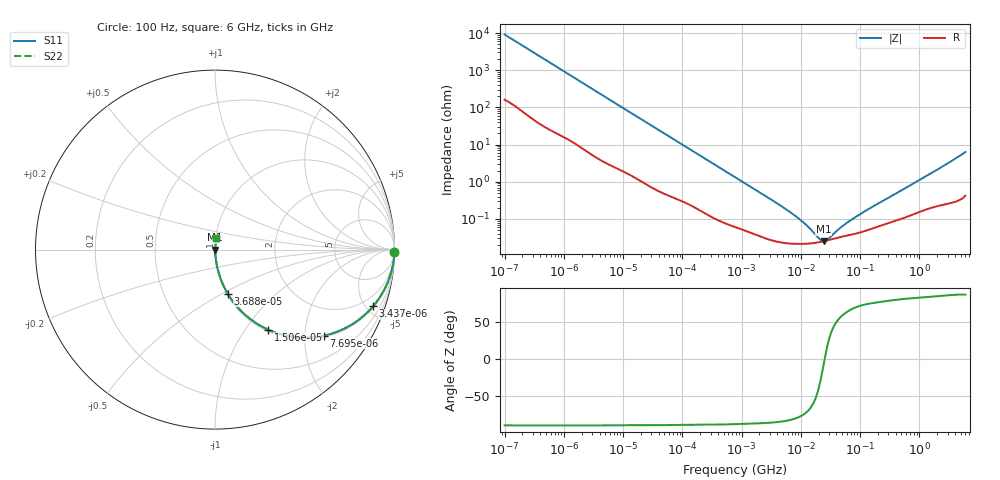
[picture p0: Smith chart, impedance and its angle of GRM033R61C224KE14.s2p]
!Murata Part Number: GRM033R61C224KE14
!These Parameters are Measured in Series Mode Connection
!Data Generated on Mar 30, 2021
!  o--ll--o
!Port1  Port2
!  o------o
!Operation Temp=25[degC], DC Bias Voltage=0[V]
!Freq. Start=100[Hz] Stop=6[GHz] 401[Steps]
# Hz S RI R 50
!Freq.(Hz) S11(Real) S11(Imag) S21(Real) S21(Imag) S12(Real) S12(Imag) S22(Real) S22(Imag)
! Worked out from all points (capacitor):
!   401 points, 100 Hz to 6 GHz, reference 50 ohm
!   read as one part in series: C = 173 nF near 109 Hz
!   lowest |Z| = 25.2 mohm at 24.34 MHz (marker M1)
!   series resonance near 25.29 MHz, so ESL is about 230 pH
!   S11 on the Smith chart (normalised r, x): 100 Hz: open; 3.437 kHz: 1.09, -5.54; 7.695 kHz: 1.05, -2.49; 15.06 kHz: 1.03, -1.28; 36.88 kHz: 1.01, -0.53; 6 GHz: 1.01, +0.13
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100  0.9997 -0.0109  0.000311 0.0109  0.000311 0.0109  0.9997 -0.0109
600  0.9949 -0.0638  0.00509 0.0638  0.00509 0.0638  0.9949 -0.0638
2008  0.9538 -0.2015  0.0462 0.2015  0.0462 0.2015  0.9538 -0.2015
3437  0.8807 -0.316  0.1193 0.316  0.1193 0.316  0.8807 -0.316
5143  0.7714 -0.4115  0.2286 0.4115  0.2286 0.4115  0.7714 -0.4115
7695  0.6064 -0.4793  0.3936 0.4793  0.3936 0.4793  0.6064 -0.4793
15062  0.2961 -0.4462  0.7039 0.4462  0.7039 0.4462  0.2961 -0.4462
23569  0.1511 -0.3476  0.8489 0.3476  0.8489 0.3476  0.1511 -0.3476
36880  0.0705 -0.2451  0.9295 0.2451  0.9295 0.2451  0.0705 -0.2451
40335  0.0603 -0.2269  0.9397 0.2269  0.9397 0.2269  0.0603 -0.2269
129199  0.00834 -0.0764  0.9917 0.0764  0.9917 0.0764  0.00834 -0.0764
774597  0.000783 -0.0133  0.9992 0.0133  0.9992 0.0133  0.000783 -0.0133
6075234  0.000223 -0.00166  0.9998 0.00166  0.9998 0.00166  0.000223 -0.00166
1.039699e7  0.000214 -0.000851  0.9998 0.000851  0.9998 0.000851  0.000214 -0.000851
1.555665e7  0.000222 -0.00042  0.9998 0.00042  0.9998 0.00042  0.000222 -0.00042
2.035112e7  0.000236 -0.000179  0.9998 0.000179  0.9998 0.000179  0.000236 -0.000179
2.434276e7  0.00025 -3.06e-05  0.9997 3.06e-05  0.9997 3.06e-05  0.00025 -3.06e-05
2.911731e7  0.000268 0.000112  0.9997 -0.000112  0.9997 -0.000112  0.000268 0.000112
4.556224e7  0.000323 0.000463  0.9997 -0.000463  0.9997 -0.000463  0.000323 0.000463
7.455971e7  0.000385 0.000916  0.9996 -0.000916  0.9996 -0.000916  0.000385 0.000916
3.124326e8  0.000803 0.00375  0.9992 -0.00375  0.9992 -0.00375  0.000803 0.00375
6e9  0.00811 0.0624  0.9919 -0.0624  0.9919 -0.0624  0.00811 0.0624
